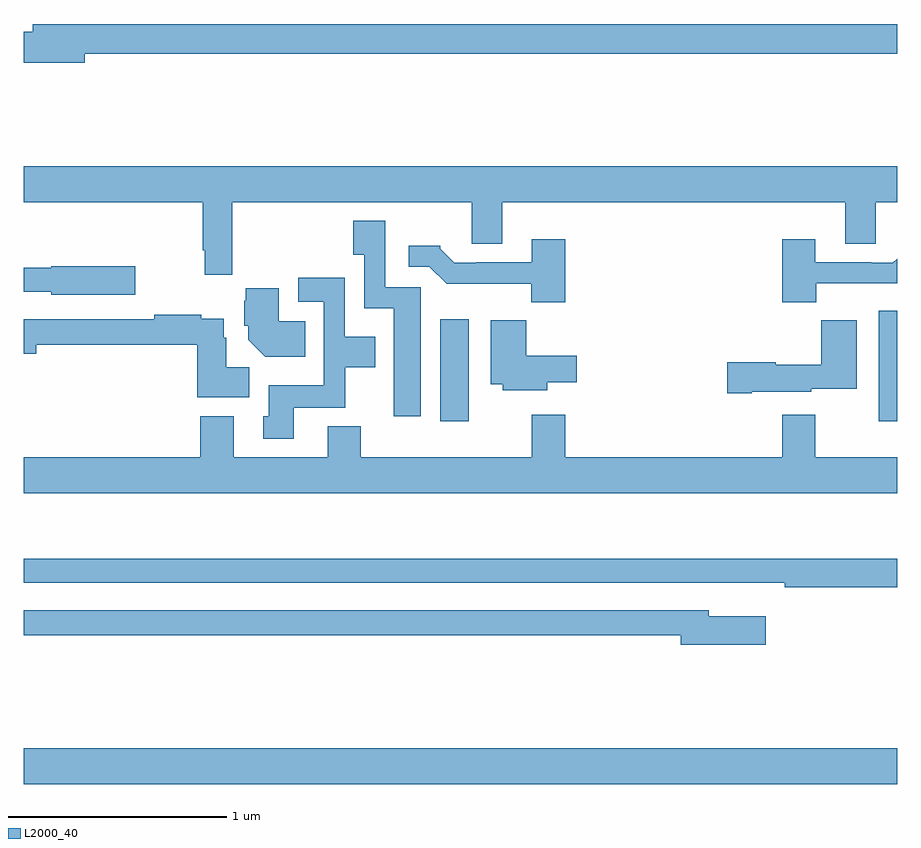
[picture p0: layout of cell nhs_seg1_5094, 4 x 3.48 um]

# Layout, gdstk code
import gdstk
lib = gdstk.Library(unit=1e-6, precision=1e-09)
def R(c, l, rs):  # rectangles x0, y0, x1, y1
    for r in rs: c.add(gdstk.rectangle(r[:2], r[2:], *l))
def P(c, l, *ps):  # polygons
    for p in ps: c.add(gdstk.Polygon(p, *l))
L2000_40 = (2000, 40)

nhs_seg1_5094 = lib.new_cell('nhs_seg1_5094')
R(nhs_seg1_5094, L2000_40, [(387,546.404,391,546.568), (388.907,548.064,389.038,548.533), (390.914,548.064,391,548.572)])
P(nhs_seg1_5094, L2000_40, [(387.28,549.748),(391,549.748),(391,549.884),(387.041,549.884),(387.041,549.848),(387,549.848),(387,549.706),(387.28,549.706)],
  [(387.956,549.068),(389.051,549.068),(389.051,548.878),(389.191,548.878),(389.191,549.068),(390.761,549.068),(390.761,548.878),(390.901,548.878),(390.901,549.068),(391,549.068),(391,549.232),(387,549.232),(387,549.068),(387.82,549.068),(387.82,548.848),(387.828,548.848),(387.828,548.736),(387.956,548.736)],
  [(388.819,548.679),(388.656,548.679),(388.656,548.983),(388.508,548.983),(388.508,548.827),(388.56,548.827),(388.56,548.582),(388.694,548.582),(388.694,548.088),(388.819,548.088)],
  [(389.48,548.899),(389.327,548.899),(389.327,548.793),(389.071,548.793),(389.071,548.79),(388.972,548.79),(388.908,548.854),(388.908,548.869),(388.764,548.869),(388.764,548.772),(388.857,548.772),(388.936,548.694),(389.325,548.694),(389.325,548.609),(389.48,548.609)],
  [(390.628,548.696),(391,548.696),(391,548.81),(390.98,548.79),(390.881,548.79),(390.881,548.793),(390.625,548.793),(390.625,548.899),(390.473,548.899),(390.473,548.609),(390.628,548.609)],
  [(387.511,548.775),(387.126,548.775),(387.126,548.767),(387,548.767),(387,548.658),(387.126,548.658),(387.126,548.645),(387.511,548.645)],
  [(388.237,548.126),(388.473,548.126),(388.473,548.312),(388.609,548.312),(388.609,548.452),(388.47,548.452),(388.47,548.722),(388.257,548.722),(388.257,548.613),(388.374,548.613),(388.374,548.23),(388.121,548.23),(388.121,548.088),(388.097,548.088),(388.097,547.986),(388.237,547.986)],
  [(388.289,548.524),(388.168,548.524),(388.168,548.674),(388.016,548.674),(388.016,548.616),(388.01,548.616),(388.01,548.502),(388.028,548.502),(388.028,548.438),(388.106,548.36),(388.289,548.36)],
  [(388.033,548.312),(387.928,548.312),(387.928,548.448),(387.916,548.448),(387.916,548.534),(387.812,548.534),(387.812,548.552),(387.598,548.552),(387.598,548.532),(387,548.532),(387,548.374),(387.058,548.374),(387.058,548.416),(387.794,548.416),(387.794,548.174),(388.033,548.174)],
  [(390.334,548.201),(390.606,548.201),(390.606,548.213),(390.814,548.213),(390.814,548.527),(390.652,548.527),(390.652,548.323),(390.444,548.323),(390.444,548.336),(390.222,548.336),(390.222,548.194),(390.334,548.194)],
  [(389.398,548.243),(389.533,548.243),(389.533,548.365),(389.3,548.365),(389.3,548.527),(389.138,548.527),(389.138,548.234),(389.193,548.234),(389.193,548.206),(389.398,548.206)],
  [(391,547.9),(390.625,547.9),(390.625,548.095),(390.473,548.095),(390.473,547.9),(389.48,547.9),(389.48,548.095),(389.327,548.095),(389.327,547.9),(388.544,547.9),(388.544,548.041),(388.391,548.041),(388.391,547.9),(387.961,547.9),(387.961,548.089),(387.809,548.089),(387.809,547.9),(387,547.9),(387,547.736),(391,547.736)],
  [(391,547.435),(387,547.435),(387,547.326),(390.232,547.326),(390.232,547.325),(390.484,547.325),(390.484,547.306),(391,547.306)],
  [(390.397,547.171),(390.136,547.171),(390.136,547.2),(387,547.2),(387,547.084),(390.008,547.084),(390.008,547.042),(390.397,547.042)])

lib.write_gds('nhs_seg1_5094.gds')
